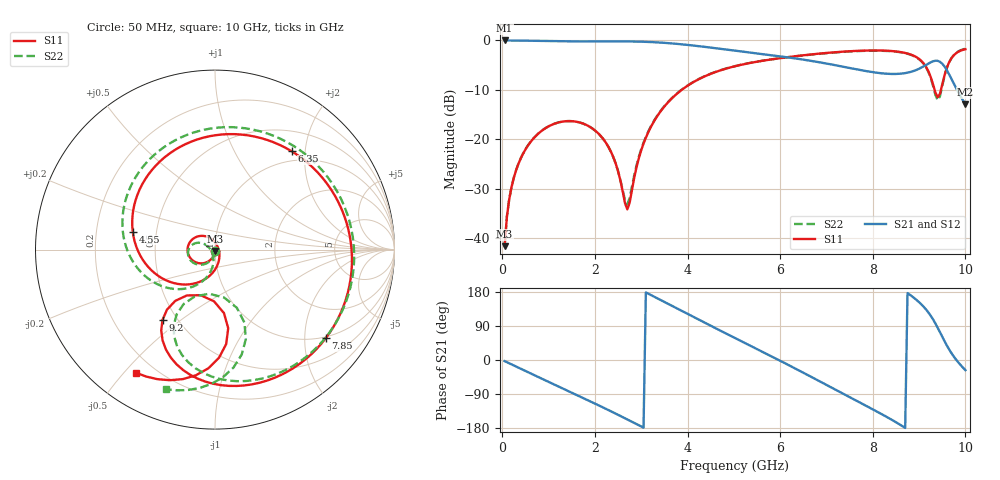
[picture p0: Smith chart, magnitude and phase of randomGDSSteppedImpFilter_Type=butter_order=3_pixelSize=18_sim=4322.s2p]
! freq	dB(S11)	phase(S11)	dB(S12)	phase(S12)
!  dB(S21)	phase(S21)	dB(S22)	phase(S22)
!S-par simulation data
#  GHz  S  DB  R 50
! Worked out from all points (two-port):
!   200 points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, 50 MHz to 10 GHz, reference 50 ohm
!   highest |S21| = 0.00 dB at 50 MHz (marker M1); lowest = -12.9 dB at 10 GHz (marker M2)
!   |S21| within 3 dB of the highest: start of sweep to 5.822 GHz
!   lowest |S11| = -41.6 dB at 50 MHz (marker M3), VSWR 1.02, Z = 50 - j0.828 ohm
!   |S11| at or under -10 dB: start of sweep to 3.874 GHz; 9.336 GHz to 9.472 GHz (136.2 MHz wide, 1.45 % of centre)
!   |S22| runs from -41.6 to -1.7 dB; largest |S21 - S12| = 0
!   S11 on the Smith chart (normalised r, x): 50 MHz: 1.00, -0.02; 4.55 GHz: 0.36, +0.09; 6.35 GHz: 0.82, +1.75; 7.85 GHz: 0.96, -2.53; 9.2 GHz: 0.42, -0.43; 10 GHz: 0.13, -0.54
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0.05  -41.63 -92.6  -0.00 -2.9  -0.00 -2.9  -41.58 -92.2
0.2  -29.65 -102.2  -0.01 -11.6  -0.01 -11.6  -29.61 -100.9
0.55  -21.32 -123.9  -0.06 -31.9  -0.06 -31.9  -21.29 -120.2
1.75  -16.84 161.1  -0.21 -100.4  -0.21 -100.4  -16.85 176.9
2.3  -21.67 120.6  -0.19 -132.6  -0.19 -132.6  -21.70 153.8
2.7  -34.17 18.3  -0.19 -156.8  -0.19 -156.8  -33.16 -150.9
3  -22.22 -76.9  -0.25 -175.4  -0.25 -175.4  -21.99 -97.3
3.4  -14.58 -112.1  -0.42 159.4  -0.42 159.4  -14.49 -111.4
4  -9.16 -155.1  -0.90 121.5  -0.90 121.5  -9.11 -143.5
4.55  -6.57 167.7  -1.50 87.3  -1.50 87.3  -6.54 -174.3
5.05  -5.16 134.9  -2.09 56.6  -2.09 56.6  -5.13 157.5
5.7  -3.99 93.0  -2.86 16.7  -2.86 16.7  -3.98 119.6
6.35  -3.16 52.0  -3.67 -24.0  -3.67 -24.0  -3.19 79.1
6.7  -2.80 30.3  -4.18 -46.4  -4.18 -46.4  -2.84 56.1
7.3  -2.30 -6.1  -5.20 -85.1  -5.20 -85.1  -2.35 15.3
7.85  -2.04 -38.7  -6.19 -120.5  -6.19 -120.5  -2.09 -22.3
8.35  -2.10 -68.5  -6.76 -153.5  -6.76 -153.5  -2.15 -56.2
8.8  -2.79 -97.6  -6.41 172.3  -6.41 172.3  -2.84 -87.8
9.2  -6.22 -126.8  -4.69 125.6  -4.69 125.6  -6.35 -118.6
9.4  -11.49 -107.5  -4.12 85.6  -4.12 85.6  -12.11 -97.5
9.6  -5.52 -83.2  -6.03 38.3  -6.03 38.3  -5.56 -71.0
10  -1.77 -122.9  -12.90 -26.8  -12.90 -26.8  -1.67 -109.5
